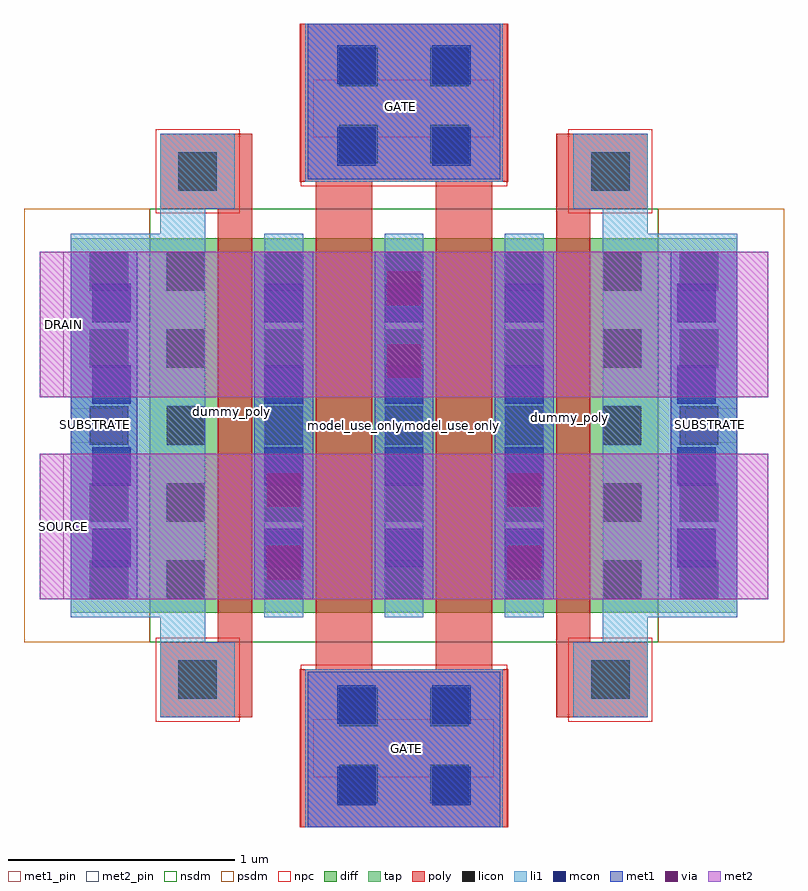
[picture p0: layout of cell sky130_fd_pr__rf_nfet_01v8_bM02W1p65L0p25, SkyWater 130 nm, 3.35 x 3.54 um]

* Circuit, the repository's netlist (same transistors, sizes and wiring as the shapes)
* Copyright 2020 The SkyWater PDK Authors
*
* Licensed under the Apache License, Version 2.0 (the "License");
* you may not use this file except in compliance with the License.
* You may obtain a copy of the License at
*
*     https://www.apache.org/licenses/LICENSE-2.0
*
* Unless required by applicable law or agreed to in writing, software
* distributed under the License is distributed on an "AS IS" BASIS,
* WITHOUT WARRANTIES OR CONDITIONS OF ANY KIND, either express or implied.
* See the License for the specific language governing permissions and
* limitations under the License.
*
* SPDX-License-Identifier: Apache-2.0


.subckt sky130_fd_pr__rf_nfet_01v8_bM02W1p65L0p25 DRAIN GATE SOURCE SUBSTRATE
X0 SOURCE GATE DRAIN SUBSTRATE sky130_fd_pr__nfet_01v8 w=1.65e+06u l=250000u
X1 SUBSTRATE SUBSTRATE SOURCE SUBSTRATE sky130_fd_pr__nfet_01v8 w=1.65e+06u l=150000u
X2 DRAIN GATE SOURCE SUBSTRATE sky130_fd_pr__nfet_01v8 w=1.65e+06u l=250000u
X3 SOURCE SUBSTRATE SUBSTRATE SUBSTRATE sky130_fd_pr__nfet_01v8 w=1.65e+06u l=150000u
.ends

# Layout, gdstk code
import gdstk
lib = gdstk.Library(unit=1e-6, precision=1e-09)
def R(c, l, rs):  # rectangles x0, y0, x1, y1
    for r in rs: c.add(gdstk.rectangle(r[:2], r[2:], *l))
def A(c, l, x, y, w, h, nx, ny, dx, dy):  # array of equal rectangles
    R(c, l, [(x+i*dx, y+j*dy, x+i*dx+w, y+j*dy+h) for i in range(nx) for j in range(ny)])
diff = (65, 20)
tap = (65, 44)
poly = (66, 20)
licon = (66, 44)
li1 = (67, 20)
mcon = (67, 44)
met1_pin = (68, 16)
met1 = (68, 20)
via = (68, 44)
met2_pin = (69, 16)
met2 = (69, 20)
nsdm = (93, 44)
psdm = (94, 20)
npc = (95, 20)

sky130_fd_pr__rf_nfet_01 = lib.new_cell('sky130_fd_pr__rf_nfet_01v8_bM02W1p65L0p25')
R(sky130_fd_pr__rf_nfet_01, diff, [(0.555,0.945,2.795,2.595)])
R(sky130_fd_pr__rf_nfet_01, tap, [(0.205,0.945,0.555,2.595), (2.795,0.945,3.145,2.595)])
R(sky130_fd_pr__rf_nfet_01, poly, [(1.215,0,2.135,0.695), (0.6,0.485,0.93,0.815), (0.855,0.485,1.005,3.055), (2.345,0.485,2.495,3.055), (2.42,0.485,2.75,0.815), (1.285,0.695,1.535,2.845), (1.815,0.695,2.065,2.845), (0.6,2.725,0.93,3.055), (2.42,2.725,2.75,3.055), (1.215,2.845,2.135,3.54)])
A(sky130_fd_pr__rf_nfet_01, licon, 0.29, 1.005, 0.17, 0.17, 1, 5, 0, 0.34)
A(sky130_fd_pr__rf_nfet_01, licon, 0.63, 1.005, 0.17, 0.17, 1, 5, 0, 0.34)
A(sky130_fd_pr__rf_nfet_01, licon, 1.06, 1.005, 0.17, 0.17, 3, 5, 0.53, 0.34)
A(sky130_fd_pr__rf_nfet_01, licon, 2.55, 1.005, 0.17, 0.17, 1, 5, 0, 0.34)
A(sky130_fd_pr__rf_nfet_01, licon, 2.89, 1.005, 0.17, 0.17, 1, 5, 0, 0.34)
R(sky130_fd_pr__rf_nfet_01, licon, [(1.39,0.105,1.56,0.275), (1.79,0.105,1.96,0.275), (1.39,0.445,1.56,0.615), (1.79,0.445,1.96,0.615), (0.68,0.565,0.85,0.735), (2.5,0.565,2.67,0.735), (0.68,2.805,0.85,2.975), (2.5,2.805,2.67,2.975), (1.39,2.925,1.56,3.095), (1.79,2.925,1.96,3.095), (1.39,3.265,1.56,3.435), (1.79,3.265,1.96,3.435)])
A(sky130_fd_pr__rf_nfet_01, li1, 1.06, 0.925, 0.17, 1.69, 3, 1, 0.53, 0)
R(sky130_fd_pr__rf_nfet_01, li1, [(1.24,0,2.11,0.695), (0.6,0.485,0.93,0.815), (2.42,0.485,2.75,0.815), (0.6,0.815,0.8,0.925), (2.55,0.815,2.75,0.925), (0.205,0.925,0.8,2.615), (2.55,0.925,3.145,2.615), (0.6,2.615,0.8,2.725), (2.55,2.615,2.75,2.725), (0.6,2.725,0.93,3.055), (2.42,2.725,2.75,3.055), (1.24,2.845,2.11,3.54)])
A(sky130_fd_pr__rf_nfet_01, mcon, 0.3, 1.145, 0.17, 0.17, 1, 4, 0, 0.36)
A(sky130_fd_pr__rf_nfet_01, mcon, 1.06, 1.145, 0.17, 0.17, 3, 4, 0.53, 0.36)
A(sky130_fd_pr__rf_nfet_01, mcon, 2.88, 1.145, 0.17, 0.17, 1, 4, 0, 0.36)
R(sky130_fd_pr__rf_nfet_01, mcon, [(1.38,0.095,1.55,0.265), (1.8,0.095,1.97,0.265), (1.38,0.455,1.55,0.625), (1.8,0.455,1.97,0.625), (1.38,2.915,1.55,3.085), (1.8,2.915,1.97,3.085), (1.38,3.275,1.55,3.445), (1.8,3.275,1.97,3.445)])
R(sky130_fd_pr__rf_nfet_01, met1_pin, [(1.275,0.22,2.07,0.475), (0.205,1.695,0.435,1.845), (2.915,1.695,3.145,1.845), (1.275,3.04,2.07,3.295)])
A(sky130_fd_pr__rf_nfet_01, met1, 1.015, 1.005, 0.26, 1.53, 3, 1, 0.53, 0)
R(sky130_fd_pr__rf_nfet_01, met1, [(1.25,0,2.1,0.685), (0.205,1.005,0.5,2.535), (2.85,1.005,3.145,2.535), (1.25,2.855,2.1,3.54)])
R(sky130_fd_pr__rf_nfet_01, via, [(1.07,1.09,1.22,1.24), (2.13,1.09,2.28,1.24), (1.07,1.41,1.22,1.56), (2.13,1.41,2.28,1.56), (1.6,1.98,1.75,2.13), (1.6,2.3,1.75,2.45)])
R(sky130_fd_pr__rf_nfet_01, met2_pin, [(0.07,1.005,0.175,1.645), (0.07,1.895,0.175,2.535)])
R(sky130_fd_pr__rf_nfet_01, met2, [(0.07,1.005,3.28,1.645), (0.07,1.895,3.28,2.535)])
R(sky130_fd_pr__rf_nfet_01, nsdm, [(0.555,0.815,2.795,2.725)])
R(sky130_fd_pr__rf_nfet_01, psdm, [(0,0.815,0.555,2.725), (2.795,0.815,3.35,2.725)])
R(sky130_fd_pr__rf_nfet_01, npc, [(1.22,0,2.13,0.715), (0.58,0.465,0.95,0.835), (2.4,0.465,2.77,0.835), (0.58,2.705,0.95,3.075), (2.4,2.705,2.77,3.075), (1.22,2.825,2.13,3.54)])
sky130_fd_pr__rf_nfet_01.add(gdstk.Label('dummy_poly', (0.915,1.83), layer=83, texttype=44))
sky130_fd_pr__rf_nfet_01.add(gdstk.Label('dummy_poly', (2.405,1.805), layer=83, texttype=44))
sky130_fd_pr__rf_nfet_01.add(gdstk.Label('GATE', (1.66,3.175), layer=68, texttype=5))
sky130_fd_pr__rf_nfet_01.add(gdstk.Label('GATE', (1.685,0.345), layer=68, texttype=5))
sky130_fd_pr__rf_nfet_01.add(gdstk.Label('SUBSTRATE', (0.315,1.775), layer=68, texttype=16))
sky130_fd_pr__rf_nfet_01.add(gdstk.Label('SUBSTRATE', (3.025,1.775), layer=68, texttype=16))
sky130_fd_pr__rf_nfet_01.add(gdstk.Label('model_use_only', (1.89,1.77), layer=66, texttype=83))
sky130_fd_pr__rf_nfet_01.add(gdstk.Label('model_use_only', (1.46,1.77), layer=66, texttype=83))
sky130_fd_pr__rf_nfet_01.add(gdstk.Label('model_use_only', (0.905,1.77), layer=66, texttype=83))
sky130_fd_pr__rf_nfet_01.add(gdstk.Label('model_use_only', (2.405,1.77), layer=66, texttype=83))
sky130_fd_pr__rf_nfet_01.add(gdstk.Label('SOURCE', (0.175,1.325), layer=69, texttype=5))
sky130_fd_pr__rf_nfet_01.add(gdstk.Label('DRAIN', (0.175,2.215), layer=69, texttype=5))

lib.write_gds('sky130_fd_pr__rf_nfet_01v8_bM02W1p65L0p25.gds')
